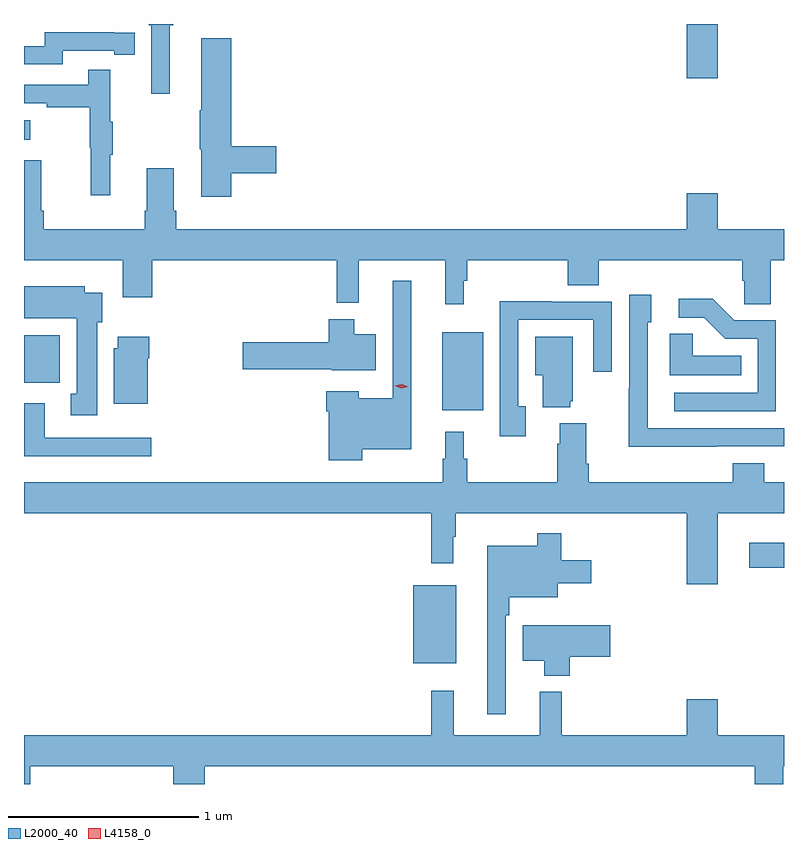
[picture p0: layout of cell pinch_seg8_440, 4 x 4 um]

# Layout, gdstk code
import gdstk
lib = gdstk.Library(unit=1e-6, precision=1e-09)
def R(c, l, rs):  # rectangles x0, y0, x1, y1
    for r in rs: c.add(gdstk.rectangle(r[:2], r[2:], *l))
def P(c, l, *ps):  # polygons
    for p in ps: c.add(gdstk.Polygon(p, *l))
L2000_40 = (2000, 40)
L4158_0 = (4158, 0)

pinch_seg8_440 = lib.new_cell('pinch_seg8_440')
R(pinch_seg8_440, L2000_40, [(319.412,1126.367,319.639,1126.777), (321.18,1126.868,321.364,1127.002), (319.565,1127.699,319.78,1128.109), (317.364,1127.844,317.553,1128.094), (317.364,1129.121,317.398,1129.225), (320.852,1129.446,321.016,1129.731)])
P(pinch_seg8_440, L2000_40, [(318.13,1129.724),(318.149,1129.724),(318.149,1129.731),(318.02,1129.731),(318.02,1129.724),(318.033,1129.724),(318.033,1129.365),(318.13,1129.365)],
  [(317.568,1129.59),(317.84,1129.59),(317.84,1129.57),(317.948,1129.57),(317.948,1129.686),(317.84,1129.686),(317.84,1129.687),(317.472,1129.687),(317.472,1129.614),(317.364,1129.614),(317.364,1129.518),(317.568,1129.518)],
  [(318.455,1128.946),(318.691,1128.946),(318.691,1129.088),(318.455,1129.088),(318.455,1129.657),(318.296,1129.657),(318.296,1129.277),(318.289,1129.277),(318.289,1129.071),(318.296,1129.071),(318.296,1128.822),(318.455,1128.822)],
  [(317.819,1129.043),(317.83,1129.043),(317.83,1129.217),(317.819,1129.217),(317.819,1129.489),(317.701,1129.489),(317.701,1129.41),(317.364,1129.41),(317.364,1129.314),(317.485,1129.314),(317.485,1129.294),(317.709,1129.294),(317.709,1129.08),(317.716,1129.08),(317.716,1128.831),(317.819,1128.831)],
  [(318.151,1128.748),(318.151,1128.973),(318.011,1128.973),(318.011,1128.748),(317.999,1128.748),(317.999,1128.652),(317.468,1128.652),(317.468,1128.748),(317.455,1128.748),(317.455,1129.015),(317.364,1129.015),(317.364,1128.488),(317.885,1128.488),(317.885,1128.294),(318.038,1128.294),(318.038,1128.488),(319.009,1128.488),(319.009,1128.263),(319.127,1128.263),(319.127,1128.488),(319.58,1128.488),(319.58,1128.255),(319.679,1128.255),(319.679,1128.38),(319.697,1128.38),(319.697,1128.488),(320.225,1128.488),(320.225,1128.355),(320.39,1128.355),(320.39,1128.488),(321.143,1128.488),(321.143,1128.379),(321.156,1128.379),(321.156,1128.256),(321.295,1128.256),(321.295,1128.488),(321.364,1128.488),(321.364,1128.652),(321.016,1128.652),(321.016,1128.841),(320.852,1128.841),(320.852,1128.652),(318.164,1128.652),(318.164,1128.748)],
  [(319.143,1127.492),(319.402,1127.492),(319.402,1128.379),(319.305,1128.379),(319.305,1127.761),(319.126,1127.761),(319.126,1127.797),(318.956,1127.797),(318.956,1127.693),(318.968,1127.693),(318.968,1127.435),(319.143,1127.435)],
  [(317.749,1128.162),(317.776,1128.162),(317.776,1128.316),(317.683,1128.316),(317.683,1128.352),(317.364,1128.352),(317.364,1128.182),(317.642,1128.182),(317.642,1127.785),(317.609,1127.785),(317.609,1127.673),(317.749,1127.673)],
  [(321.011,1127.508),(321.364,1127.508),(321.364,1127.604),(320.646,1127.604),(320.646,1128.162),(320.665,1128.162),(320.665,1128.307),(320.55,1128.307),(320.55,1127.813),(320.548,1127.813),(320.548,1127.507),(321.011,1127.507)],
  [(321.321,1128.171),(321.102,1128.171),(320.989,1128.284),(320.811,1128.284),(320.811,1128.186),(320.945,1128.186),(321.056,1128.075),(321.225,1128.075),(321.225,1127.79),(320.787,1127.79),(320.787,1127.694),(321.321,1127.694)],
  [(320.005,1127.718),(319.965,1127.718),(319.965,1128.174),(320.361,1128.174),(320.361,1127.901),(320.457,1127.901),(320.457,1128.27),(320.141,1128.27),(320.141,1128.272),(319.869,1128.272),(319.869,1127.562),(320.005,1127.562)],
  [(319.216,1128.097),(319.102,1128.097),(319.102,1128.178),(318.968,1128.178),(318.968,1128.057),(318.516,1128.057),(318.516,1127.915),(318.984,1127.915),(318.984,1127.909),(319.216,1127.909)],
  [(321.14,1127.986),(320.883,1127.986),(320.883,1128.101),(320.762,1128.101),(320.762,1127.882),(321.14,1127.882)],
  [(318.016,1127.972),(318.024,1127.972),(318.024,1128.085),(317.858,1128.085),(317.858,1128.024),(317.837,1128.024),(317.837,1127.732),(318.016,1127.732)],
  [(320.24,1127.745),(320.251,1127.745),(320.251,1128.085),(320.054,1128.085),(320.054,1127.882),(320.093,1127.882),(320.093,1127.714),(320.24,1127.714)],
  [(318.034,1127.553),(317.473,1127.553),(317.473,1127.734),(317.364,1127.734),(317.364,1127.456),(318.034,1127.456)],
  [(321.016,1127.156),(321.364,1127.156),(321.364,1127.32),(321.26,1127.32),(321.26,1127.419),(321.095,1127.419),(321.095,1127.32),(320.336,1127.32),(320.336,1127.416),(320.323,1127.416),(320.323,1127.629),(320.183,1127.629),(320.183,1127.522),(320.171,1127.522),(320.171,1127.32),(319.697,1127.32),(319.697,1127.444),(319.679,1127.444),(319.679,1127.584),(319.58,1127.584),(319.58,1127.444),(319.569,1127.444),(319.569,1127.32),(317.364,1127.32),(317.364,1127.156),(319.507,1127.156),(319.507,1126.893),(319.624,1126.893),(319.624,1127.033),(319.636,1127.033),(319.636,1127.156),(320.852,1127.156),(320.852,1126.782),(321.016,1126.782)],
  [(319.899,1126.619),(319.919,1126.619),(319.919,1126.715),(320.173,1126.715),(320.173,1126.787),(320.35,1126.787),(320.35,1126.909),(320.192,1126.909),(320.192,1127.05),(320.064,1127.05),(320.064,1126.984),(319.802,1126.984),(319.802,1126.098),(319.899,1126.098)],
  [(320.237,1126.402),(320.449,1126.402),(320.449,1126.567),(319.988,1126.567),(319.988,1126.379),(320.102,1126.379),(320.102,1126.301),(320.237,1126.301)],
  [(317.396,1125.824),(318.149,1125.824),(318.149,1125.731),(318.314,1125.731),(318.314,1125.824),(321.209,1125.824),(321.209,1125.731),(321.361,1125.731),(321.361,1125.824),(321.364,1125.824),(321.364,1125.988),(321.016,1125.988),(321.016,1126.177),(320.852,1126.177),(320.852,1125.988),(320.195,1125.988),(320.195,1126.216),(320.078,1126.216),(320.078,1125.988),(319.625,1125.988),(319.625,1126.222),(319.507,1126.222),(319.507,1125.988),(317.364,1125.988),(317.364,1125.731),(317.396,1125.731)])
P(pinch_seg8_440, L4158_0, [(319.35,1127.815),(319.316,1127.827),(319.315,1127.827),(319.316,1127.828),(319.352,1127.835),(319.386,1127.823),(319.387,1127.823),(319.386,1127.823)])

lib.write_gds('pinch_seg8_440.gds')
